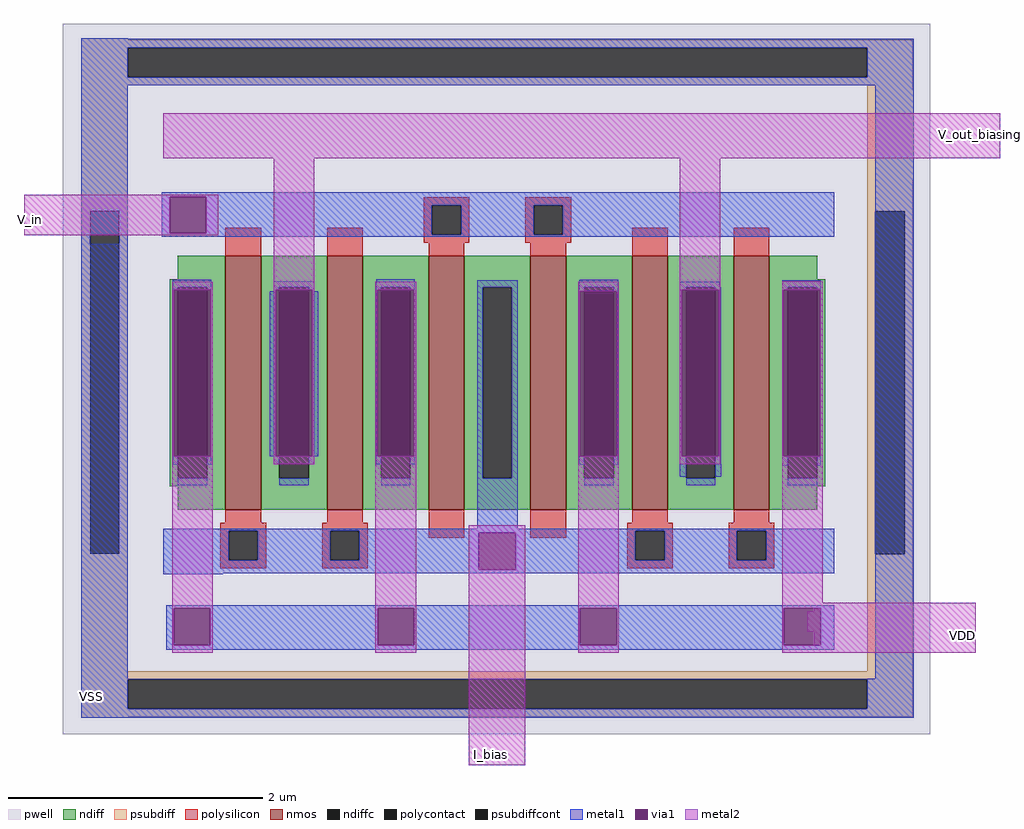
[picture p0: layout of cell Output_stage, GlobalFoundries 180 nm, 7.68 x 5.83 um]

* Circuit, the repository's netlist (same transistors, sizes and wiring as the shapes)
* NGSPICE file created from Output_stage_layout.ext - technology: gf180mcuD

.subckt nfet_03v3_N8FQLR a_n372_n200# a_n436_n292# a_n116_220# a_n516_n163# a_n655_n527#
X0 a_n372_n200# a_n436_n292# a_n516_n163# a_n655_n527# nfet_03v3 ad=0.52p pd=2.52u as=0.85595p ps=4.88u w=2u l=0.28u M=4
X1 a_n516_n163# a_n116_220# a_n436_n292# a_n655_n527# nfet_03v3 ad=0.52p pd=2.52u as=0.52p ps=2.52u w=2u l=0.28u M=2
.ends

.subckt Output_stage_layout I_bias V_in V_out_biasing VDD
Xnfet_03v3_N8FQLR_0 V_out_biasing I_bias V_in VDD m1_n158_415# nfet_03v3_N8FQLR
.ends

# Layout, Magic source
magic
tech gf180mcuD
magscale 1 10
<< psubdiff >>
rect -158 415 -99 542
rect -158 338 -99 402
rect -158 -420 -99 325
<< metal1 >>
rect -158 415 -99 483
rect -158 338 -99 402
rect -158 -360 -99 325
rect 1091 -360 1150 483
<< metal2 >>
rect 1009 459 1287 530
rect -249 338 -20 402
rect 451 -496 540 -118
rect 994 -254 1249 -240
rect 984 -286 1249 -254
rect 994 -319 1249 -286
use nfet_03v3_N8FQLR  nfet_03v3_N8FQLR_0
transform 1 0 496 0 1 106
box -684 -553 681 565
<< labels >>
rlabel metal2 1275 497 1275 497 1 V_out_biasing
port 2 n
rlabel metal2 485 -479 485 -479 1 I_bias
port 0 n
rlabel metal2 -238 363 -238 363 1 V_in
port 1 n
rlabel metal2 1228 -291 1228 -291 5 VDD
port 3 n
rlabel psubdiff -142 -387 -142 -387 1 VSS
port 4 n
<< end >>

# cell nfet_03v3_N8FQLR: kit device nfet_03v3, w 2 l 0.280 m 1 nf 6 diffcov 80 polycov 100 guard 1 glc 1 grc 1 gtc 0 gbc 0 tbcov 100 rlcov 100 topc 1 botc 1 poverlap 0 doverlap 1 lmin 0.28 wmin 0.22 class mosfet full_metal 1 compatible {nfet_03v3 nfet_06v0 nfet_06v0_nvt}
